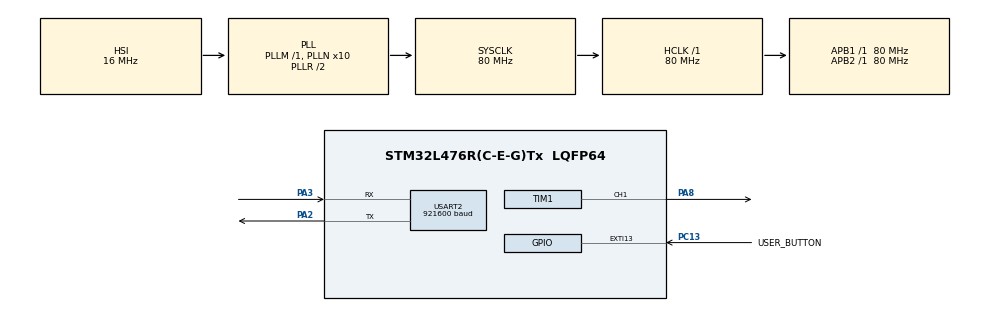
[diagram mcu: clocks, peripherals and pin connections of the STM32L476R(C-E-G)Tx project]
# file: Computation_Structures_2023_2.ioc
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Dma.Request0=USART2_TX
Dma.USART2_TX.0.Direction=DMA_MEMORY_TO_PERIPH
Dma.USART2_TX.0.Instance=DMA1_Channel7
Dma.USART2_TX.0.MemDataAlignment=DMA_MDATAALIGN_BYTE
Dma.USART2_TX.0.MemInc=DMA_MINC_ENABLE
Dma.USART2_TX.0.Mode=DMA_NORMAL
Dma.USART2_TX.0.PeriphDataAlignment=DMA_PDATAALIGN_BYTE
Dma.USART2_TX.0.PeriphInc=DMA_PINC_DISABLE
Dma.USART2_TX.0.Priority=DMA_PRIORITY_MEDIUM
Mcu.Family=STM32L4
Mcu.Name=STM32L476R(C-E-G)Tx
Mcu.Package=LQFP64
NVIC.DMA1_Channel7_IRQn=true\:0\:0\:false\:false\:true\:false\:true\:true
NVIC.EXTI15_10_IRQn=true\:0\:0\:false\:false\:true\:true\:true\:true
NVIC.PriorityGroup=NVIC_PRIORITYGROUP_4
NVIC.TIM7_IRQn=true\:0\:0\:false\:false\:true\:true\:true\:true
NVIC.USART2_IRQn=true\:0\:0\:false\:false\:true\:true\:true\:true
PA2.Mode=Asynchronous
PA2.Signal=USART2_TX
PA3.Mode=Asynchronous
PA3.Signal=USART2_RX
PA8.Signal=S_TIM1_CH1
PC13.GPIO_Label=USER_BUTTON
PC13.Signal=GPXTI13
ProjectManager.HeapSize=0x200
ProjectManager.StackSize=0x400
ProjectManager.TargetToolchain=STM32CubeIDE
RCC.ADCFreq_Value=64000000
RCC.AHBFreq_Value=80000000
RCC.APB1Freq_Value=80000000
RCC.APB1TimFreq_Value=80000000
RCC.APB2Freq_Value=80000000
RCC.APB2TimFreq_Value=80000000
RCC.CortexFreq_Value=80000000
RCC.HCLKFreq_Value=80000000
RCC.HSE_VALUE=8000000
RCC.HSI_VALUE=16000000
RCC.LSE_VALUE=32768
RCC.MSI_VALUE=4000000
RCC.PLLN=10
RCC.PLLSourceVirtual=RCC_PLLSOURCE_HSI
RCC.PREFETCH_ENABLE=1
RCC.SYSCLKFreq_VALUE=80000000
RCC.SYSCLKSource=RCC_SYSCLKSOURCE_PLLCLK
RCC.USBFreq_Value=64000000
RCC.VCOOutputFreq_Value=160000000
SH.S_TIM1_CH1.0=TIM1_CH1,PWM Generation1 CH1
TIM1.Channel-PWM\ Generation1\ CH1=TIM_CHANNEL_1
TIM1.Period=100-1
TIM1.Prescaler=800-1
TIM7.Period=10000-1
TIM7.Prescaler=8000-1
USART2.BaudRate=921600
USART2.VirtualMode-Asynchronous=VM_ASYNC
VP_TIM1_VS_ClockSourceINT.Mode=Internal
VP_TIM7_VS_ClockSourceINT.Mode=Enable_Timer
board=NUCLEO-L476RG

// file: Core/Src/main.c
/* USER CODE BEGIN Header */
/**
  ******************************************************************************
  * @file           : main.c
  * @brief          : Main program body
  ******************************************************************************
  * @attention
  *
  * Copyright (c) 2023 STMicroelectronics.
  * All rights reserved.
  *
  * This software is licensed under terms that can be found in the LICENSE file
  * in the root directory of this software component.
  * If no LICENSE file comes with this software, it is provided AS-IS.
  *
  ******************************************************************************
  */
/* USER CODE END Header */
#include "main.h"

/* USER CODE BEGIN Includes */
#include <stdio.h>
/* USER CODE END Includes */

TIM_HandleTypeDef htim1;
TIM_HandleTypeDef htim7;

UART_HandleTypeDef huart2;
DMA_HandleTypeDef hdma_usart2_tx;

/* USER CODE BEGIN PV */
uint8_t rx_buffer[4];

uint8_t tx_busy = 0;
/* USER CODE END PV */

void SystemClock_Config(void);
static void MX_GPIO_Init(void);
static void MX_DMA_Init(void);
static void MX_USART2_UART_Init(void);
static void MX_TIM7_Init(void);
static void MX_TIM1_Init(void);

/* USER CODE BEGIN 0 */
int _write(int file, char *ptr, int len)
{
	while (tx_busy != 0) {/* Wait */}
  HAL_UART_Transmit_DMA(&huart2, (uint8_t *)ptr, len);
  tx_busy = 1;
  return len;
}

void HAL_UART_RxCpltCallback(UART_HandleTypeDef *huart)
{
	printf("Received: [%s]\r\n", rx_buffer);
	HAL_UART_Receive_IT(&huart2, rx_buffer, 1);
}

void HAL_UART_TxCpltCallback(UART_HandleTypeDef *huart)
{
	tx_busy = 0;
}

void HAL_TIM_PeriodElapsedCallback(TIM_HandleTypeDef *htim)
{
	static uint32_t counter = 0;

	printf("Counter: %ld\r\n", counter++);
}
/* USER CODE END 0 */

int main(void)
{

  /* MCU Configuration--------------------------------------------------------*/

  /* Reset of all peripherals, Initializes the Flash interface and the Systick. */
  HAL_Init();

  /* Configure the system clock */
  SystemClock_Config();

  /* Initialize all configured peripherals */
  MX_GPIO_Init();
  MX_DMA_Init();
  MX_USART2_UART_Init();
  MX_TIM7_Init();
  MX_TIM1_Init();
  /* USER CODE BEGIN 2 */
  HAL_UART_Receive_IT(&huart2, rx_buffer, 1);

  HAL_TIM_Base_Start_IT(&htim7);

  TIM1->CCR1 = 50; // To set the compare channel 1
  HAL_TIM_PWM_Start(&htim1, TIM_CHANNEL_1);
  /* USER CODE END 2 */

  /* Infinite loop */
  /* USER CODE BEGIN WHILE */
  for (uint8_t idx =0; idx <= 0x0F; idx++)
	  printf("IDX: 0x%02X\r\n", idx);
  while (1)
  {
    /* USER CODE END WHILE */

  }
}

void SystemClock_Config(void)
{
  RCC_OscInitTypeDef RCC_OscInitStruct = {0};
  RCC_ClkInitTypeDef RCC_ClkInitStruct = {0};

  /** Configure the main internal regulator output voltage
  */
  if (HAL_PWREx_ControlVoltageScaling(PWR_REGULATOR_VOLTAGE_SCALE1) != HAL_OK)
  {
    Error_Handler();
  }

  /** Initializes the RCC Oscillators according to the specified parameters
  * in the RCC_OscInitTypeDef structure.
  */
  RCC_OscInitStruct.OscillatorType = RCC_OSCILLATORTYPE_HSI;
  RCC_OscInitStruct.HSIState = RCC_HSI_ON;
  RCC_OscInitStruct.HSICalibrationValue = RCC_HSICALIBRATION_DEFAULT;
  RCC_OscInitStruct.PLL.PLLState = RCC_PLL_ON;
  RCC_OscInitStruct.PLL.PLLSource = RCC_PLLSOURCE_HSI;
  RCC_OscInitStruct.PLL.PLLM = 1;
  RCC_OscInitStruct.PLL.PLLN = 10;
  RCC_OscInitStruct.PLL.PLLP = RCC_PLLP_DIV7;
  RCC_OscInitStruct.PLL.PLLQ = RCC_PLLQ_DIV2;
  RCC_OscInitStruct.PLL.PLLR = RCC_PLLR_DIV2;
  if (HAL_RCC_OscConfig(&RCC_OscInitStruct) != HAL_OK)
  {
    Error_Handler();
  }

  /** Initializes the CPU, AHB and APB buses clocks
  */
  RCC_ClkInitStruct.ClockType = RCC_CLOCKTYPE_HCLK|RCC_CLOCKTYPE_SYSCLK
                              |RCC_CLOCKTYPE_PCLK1|RCC_CLOCKTYPE_PCLK2;
  RCC_ClkInitStruct.SYSCLKSource = RCC_SYSCLKSOURCE_PLLCLK;
  RCC_ClkInitStruct.AHBCLKDivider = RCC_SYSCLK_DIV1;
  RCC_ClkInitStruct.APB1CLKDivider = RCC_HCLK_DIV1;
  RCC_ClkInitStruct.APB2CLKDivider = RCC_HCLK_DIV1;

  if (HAL_RCC_ClockConfig(&RCC_ClkInitStruct, FLASH_LATENCY_4) != HAL_OK)
  {
    Error_Handler();
  }
}

static void MX_TIM1_Init(void)
{

  TIM_ClockConfigTypeDef sClockSourceConfig = {0};
  TIM_MasterConfigTypeDef sMasterConfig = {0};
  TIM_OC_InitTypeDef sConfigOC = {0};
  TIM_BreakDeadTimeConfigTypeDef sBreakDeadTimeConfig = {0};

  htim1.Instance = TIM1;
  htim1.Init.Prescaler = 800-1;
  htim1.Init.CounterMode = TIM_COUNTERMODE_UP;
  htim1.Init.Period = 100-1;
  htim1.Init.ClockDivision = TIM_CLOCKDIVISION_DIV1;
  htim1.Init.RepetitionCounter = 0;
  htim1.Init.AutoReloadPreload = TIM_AUTORELOAD_PRELOAD_DISABLE;
  if (HAL_TIM_Base_Init(&htim1) != HAL_OK)
  {
    Error_Handler();
  }
  sClockSourceConfig.ClockSource = TIM_CLOCKSOURCE_INTERNAL;
  if (HAL_TIM_ConfigClockSource(&htim1, &sClockSourceConfig) != HAL_OK)
  {
    Error_Handler();
  }
  if (HAL_TIM_PWM_Init(&htim1) != HAL_OK)
  {
    Error_Handler();
  }
  sMasterConfig.MasterOutputTrigger = TIM_TRGO_RESET;
  sMasterConfig.MasterOutputTrigger2 = TIM_TRGO2_RESET;
  sMasterConfig.MasterSlaveMode = TIM_MASTERSLAVEMODE_DISABLE;
  if (HAL_TIMEx_MasterConfigSynchronization(&htim1, &sMasterConfig) != HAL_OK)
  {
    Error_Handler();
  }
  sConfigOC.OCMode = TIM_OCMODE_PWM1;
  sConfigOC.Pulse = 0;
  sConfigOC.OCPolarity = TIM_OCPOLARITY_HIGH;
  sConfigOC.OCNPolarity = TIM_OCNPOLARITY_HIGH;
  sConfigOC.OCFastMode = TIM_OCFAST_DISABLE;
  sConfigOC.OCIdleState = TIM_OCIDLESTATE_RESET;
  sConfigOC.OCNIdleState = TIM_OCNIDLESTATE_RESET;
  if (HAL_TIM_PWM_ConfigChannel(&htim1, &sConfigOC, TIM_CHANNEL_1) != HAL_OK)
  {
    Error_Handler();
  }
  sBreakDeadTimeConfig.OffStateRunMode = TIM_OSSR_DISABLE;
  sBreakDeadTimeConfig.OffStateIDLEMode = TIM_OSSI_DISABLE;
  sBreakDeadTimeConfig.LockLevel = TIM_LOCKLEVEL_OFF;
  sBreakDeadTimeConfig.DeadTime = 0;
  sBreakDeadTimeConfig.BreakState = TIM_BREAK_DISABLE;
  sBreakDeadTimeConfig.BreakPolarity = TIM_BREAKPOLARITY_HIGH;
  sBreakDeadTimeConfig.BreakFilter = 0;
  sBreakDeadTimeConfig.Break2State = TIM_BREAK2_DISABLE;
  sBreakDeadTimeConfig.Break2Polarity = TIM_BREAK2POLARITY_HIGH;
  sBreakDeadTimeConfig.Break2Filter = 0;
  sBreakDeadTimeConfig.AutomaticOutput = TIM_AUTOMATICOUTPUT_DISABLE;
  if (HAL_TIMEx_ConfigBreakDeadTime(&htim1, &sBreakDeadTimeConfig) != HAL_OK)
  {
    Error_Handler();
  }
  HAL_TIM_MspPostInit(&htim1);

}

static void MX_TIM7_Init(void)
{

  TIM_MasterConfigTypeDef sMasterConfig = {0};

  htim7.Instance = TIM7;
  htim7.Init.Prescaler = 8000-1;
  htim7.Init.CounterMode = TIM_COUNTERMODE_UP;
  htim7.Init.Period = 10000-1;
  htim7.Init.AutoReloadPreload = TIM_AUTORELOAD_PRELOAD_DISABLE;
  if (HAL_TIM_Base_Init(&htim7) != HAL_OK)
  {
    Error_Handler();
  }
  sMasterConfig.MasterOutputTrigger = TIM_TRGO_RESET;
  sMasterConfig.MasterSlaveMode = TIM_MASTERSLAVEMODE_DISABLE;
  if (HAL_TIMEx_MasterConfigSynchronization(&htim7, &sMasterConfig) != HAL_OK)
  {
    Error_Handler();
  }

}

static void MX_USART2_UART_Init(void)
{

  huart2.Instance = USART2;
  huart2.Init.BaudRate = 921600;
  huart2.Init.WordLength = UART_WORDLENGTH_8B;
  huart2.Init.StopBits = UART_STOPBITS_1;
  huart2.Init.Parity = UART_PARITY_NONE;
  huart2.Init.Mode = UART_MODE_TX_RX;
  huart2.Init.HwFlowCtl = UART_HWCONTROL_NONE;
  huart2.Init.OverSampling = UART_OVERSAMPLING_16;
  huart2.Init.OneBitSampling = UART_ONE_BIT_SAMPLE_DISABLE;
  huart2.AdvancedInit.AdvFeatureInit = UART_ADVFEATURE_NO_INIT;
  if (HAL_UART_Init(&huart2) != HAL_OK)
  {
    Error_Handler();
  }

}

static void MX_DMA_Init(void)
{

  /* DMA controller clock enable */
  __HAL_RCC_DMA1_CLK_ENABLE();

  /* DMA interrupt init */
  /* DMA1_Channel7_IRQn interrupt configuration */
  HAL_NVIC_SetPriority(DMA1_Channel7_IRQn, 0, 0);
  HAL_NVIC_EnableIRQ(DMA1_Channel7_IRQn);

}

static void MX_GPIO_Init(void)
{
  GPIO_InitTypeDef GPIO_InitStruct = {0};

  /* GPIO Ports Clock Enable */
  __HAL_RCC_GPIOC_CLK_ENABLE();
  __HAL_RCC_GPIOA_CLK_ENABLE();

  /*Configure GPIO pin : USER_BUTTON_Pin */
  GPIO_InitStruct.Pin = USER_BUTTON_Pin;
  GPIO_InitStruct.Mode = GPIO_MODE_IT_RISING;
  GPIO_InitStruct.Pull = GPIO_NOPULL;
  HAL_GPIO_Init(USER_BUTTON_GPIO_Port, &GPIO_InitStruct);

  /* EXTI interrupt init*/
  HAL_NVIC_SetPriority(EXTI15_10_IRQn, 0, 0);
  HAL_NVIC_EnableIRQ(EXTI15_10_IRQn);

}

void Error_Handler(void)
{
  __disable_irq();
  while (1)
  {
  }
}
